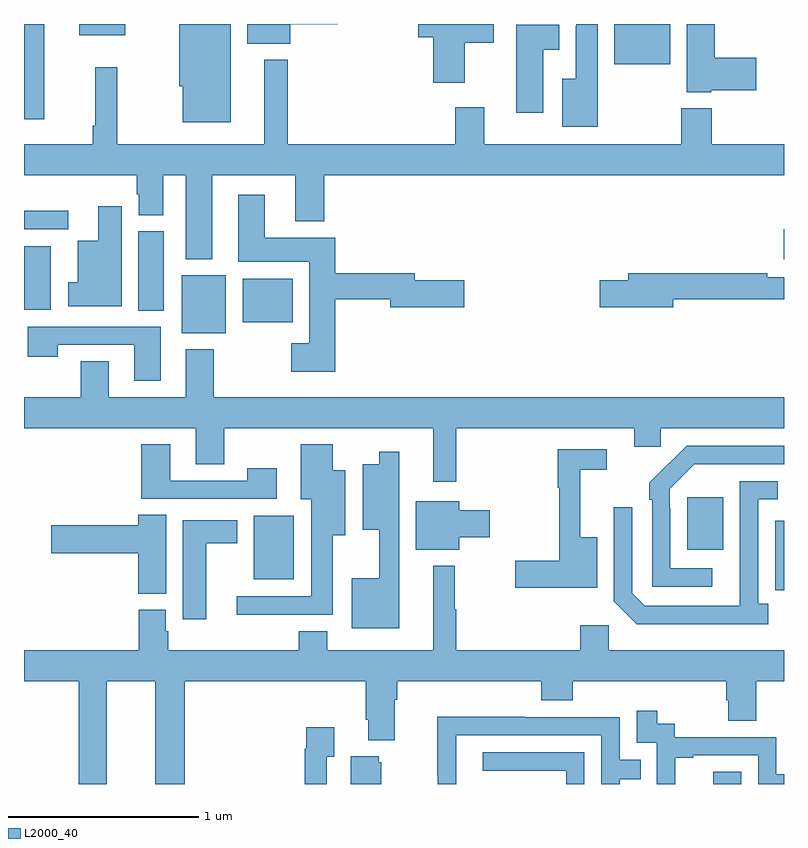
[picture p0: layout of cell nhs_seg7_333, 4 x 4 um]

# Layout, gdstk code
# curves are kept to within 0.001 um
import gdstk
lib = gdstk.Library(unit=1e-6, precision=1e-09)
def R(c, l, rs):  # rectangles x0, y0, x1, y1
    for r in rs: c.add(gdstk.rectangle(r[:2], r[2:], *l))
def P(c, l, *ps):  # polygons
    for p in ps: c.add(gdstk.Polygon(p, *l))
L2000_40 = (2000, 40)

nhs_seg7_333 = lib.new_cell('nhs_seg7_333')
R(nhs_seg7_333, L2000_40, [(138.627,1076,138.774,1076.065), (136.208,1077.077,136.42,1077.412), (138.491,1077.233,138.679,1077.508), (135.83,1078.373,136.063,1078.678), (136.151,1078.43,136.414,1078.66), (135.602,1078.492,135.736,1078.908), (135,1078.496,135.142,1078.831), (138.999,1078.763,139,1078.921), (135,1078.92,135.232,1079.018), (135,1079.499,135.106,1080), (138.107,1079.789,138.4,1080), (135.29,1079.942,135.532,1080)])
P(nhs_seg7_333, L2000_40, [(136.087,1080),(135.818,1080),(135.818,1079.673),(135.836,1079.673),(135.836,1079.483),(136.087,1079.483)],
  [(137.32,1079.902),(137.473,1079.902),(137.473,1080),(137.076,1080),(137.076,1079.93),(137.153,1079.93),(137.153,1079.691),(137.32,1079.691)],
  [(136.402,1079.999),(136.651,1079.999),(136.651,1080),(136.175,1080),(136.175,1079.897),(136.402,1079.897)],
  [(138.019,1080),(137.907,1080),(137.907,1079.987),(137.903,1079.987),(137.903,1079.713),(137.834,1079.713),(137.834,1079.459),(138.019,1079.459)],
  [(138.618,1079.651),(138.853,1079.651),(138.853,1079.822),(138.635,1079.822),(138.635,1080),(138.488,1080),(138.488,1079.642),(138.618,1079.642)],
  [(137.734,1079.864),(137.818,1079.864),(137.818,1079.995),(137.591,1079.995),(137.591,1079.532),(137.734,1079.532)],
  [(135.991,1079.204),(136.427,1079.204),(136.427,1078.961),(136.58,1078.961),(136.58,1079.204),(139,1079.204),(139,1079.368),(138.62,1079.368),(138.62,1079.557),(138.46,1079.557),(138.46,1079.368),(137.422,1079.368),(137.422,1079.563),(137.27,1079.563),(137.27,1079.368),(136.387,1079.368),(136.387,1079.812),(136.265,1079.812),(136.265,1079.368),(135.49,1079.368),(135.49,1079.773),(135.376,1079.773),(135.376,1079.464),(135.361,1079.464),(135.361,1079.368),(135,1079.368),(135,1079.204),(135.593,1079.204),(135.593,1079.103),(135.605,1079.103),(135.605,1078.993),(135.733,1078.993),(135.733,1079.204),(135.851,1079.204),(135.851,1078.763),(135.991,1078.763)],
  [(136.637,1078.552),(136.928,1078.552),(136.928,1078.51),(137.317,1078.51),(137.317,1078.652),(137.056,1078.652),(137.056,1078.688),(136.637,1078.688),(136.637,1078.876),(136.267,1078.876),(136.267,1079.101),(136.127,1079.101),(136.127,1078.748),(136.502,1078.748),(136.502,1078.321),(136.407,1078.321),(136.407,1078.169),(136.637,1078.169)],
  [(135.514,1079.041),(135.392,1079.041),(135.392,1078.858),(135.284,1078.858),(135.284,1078.642),(135.233,1078.642),(135.233,1078.514),(135.514,1078.514)],
  [(138.418,1078.552),(139,1078.552),(139,1078.668),(138.911,1078.668),(138.911,1078.688),(138.179,1078.688),(138.179,1078.652),(138.03,1078.652),(138.03,1078.51),(138.418,1078.51)],
  [(135.721,1078.407),(135.021,1078.407),(135.021,1078.248),(135.177,1078.248),(135.177,1078.311),(135.581,1078.311),(135.581,1078.122),(135.721,1078.122)],
  [(135.999,1078.288),(135.851,1078.288),(135.851,1078.036),(135.445,1078.036),(135.445,1078.226),(135.298,1078.226),(135.298,1078.036),(135,1078.036),(135,1077.872),(135.905,1077.872),(135.905,1077.682),(136.053,1077.682),(136.053,1077.872),(137.153,1077.872),(137.153,1077.591),(137.275,1077.591),(137.275,1077.872),(138.212,1077.872),(138.212,1077.774),(138.351,1077.774),(138.351,1077.872),(139,1077.872),(139,1078.036),(135.999,1078.036)],
  [(136.33,1077.661),(136.174,1077.661),(136.174,1077.597),(135.769,1077.597),(135.769,1077.787),(135.617,1077.787),(135.617,1077.501),(136.33,1077.501)],
  [(136.624,1077.308),(136.69,1077.308),(136.69,1077.652),(136.624,1077.652),(136.624,1077.787),(136.457,1077.787),(136.457,1077.5),(136.511,1077.5),(136.511,1076.988),(136.119,1076.988),(136.119,1076.891),(136.624,1076.891)],
  [(138.622,1077.135),(138.402,1077.135),(138.402,1077.455),(138.399,1077.455),(138.399,1077.555),(138.528,1077.684),(139,1077.684),(139,1077.78),(138.488,1077.78),(138.291,1077.585),(138.291,1077.497),(138.306,1077.497),(138.306,1077.039),(138.622,1077.039)],
  [(138.016,1077.298),(137.927,1077.298),(137.927,1077.654),(138.067,1077.654),(138.067,1077.762),(137.809,1077.762),(137.809,1077.559),(137.817,1077.559),(137.817,1077.176),(137.586,1077.176),(137.586,1077.034),(138.016,1077.034)],
  [(136.975,1077.748),(136.871,1077.748),(136.871,1077.682),(136.784,1077.682),(136.784,1077.338),(136.871,1077.338),(136.871,1077.082),(136.724,1077.082),(136.724,1076.819),(136.975,1076.819)],
  [(138.916,1076.95),(138.864,1076.95),(138.864,1077.498),(138.967,1077.498),(138.967,1077.594),(138.768,1077.594),(138.767,1076.937),(138.267,1076.937),(138.201,1077.003),(138.201,1077.457),(138.105,1077.457),(138.105,1076.961),(138.226,1076.84),(138.916,1076.84)],
  [(137.29,1077.299),(137.452,1077.299),(137.452,1077.441),(137.29,1077.441),(137.29,1077.487),(137.063,1077.487),(137.063,1077.233),(137.29,1077.233)],
  [(135.748,1077.416),(135.602,1077.416),(135.602,1077.362),(135.144,1077.362),(135.144,1077.215),(135.602,1077.215),(135.602,1077.001),(135.748,1077.001)],
  [(135.958,1077.266),(136.123,1077.266),(136.123,1077.388),(135.836,1077.388),(135.836,1076.868),(135.958,1076.868)],
  [(139,1077.385),(138.954,1077.385),(138.954,1077.13),(138.955,1077.13),(138.955,1077.021),(139,1077.021)],
  [(136.799,1076.338),(136.811,1076.338),(136.811,1076.231),(136.951,1076.231),(136.951,1076.444),(136.964,1076.444),(136.964,1076.54),(137.723,1076.54),(137.723,1076.441),(137.888,1076.441),(137.888,1076.54),(138.695,1076.54),(138.695,1076.442),(138.707,1076.442),(138.707,1076.332),(138.855,1076.332),(138.855,1076.54),(139,1076.54),(139,1076.704),(138.078,1076.704),(138.078,1076.836),(137.927,1076.836),(137.927,1076.704),(137.275,1076.704),(137.275,1076.921),(137.267,1076.921),(137.267,1077.148),(137.153,1077.148),(137.153,1076.704),(136.597,1076.704),(136.597,1076.803),(136.445,1076.803),(136.445,1076.704),(135.758,1076.704),(135.758,1076.805),(135.745,1076.805),(135.745,1076.916),(135.605,1076.916),(135.605,1076.704),(135,1076.704),(135,1076.54),(135.289,1076.54),(135.289,1076),(135.436,1076),(135.436,1076.54),(135.692,1076.54),(135.692,1076),(135.845,1076),(135.845,1076.54),(136.799,1076.54)],
  [(138.428,1076.139),(138.523,1076.139),(138.523,1076.151),(138.864,1076.151),(138.864,1076),(139,1076),(139,1076.052),(138.96,1076.052),(138.96,1076.247),(138.426,1076.247),(138.426,1076.316),(138.334,1076.316),(138.334,1076.386),(138.225,1076.386),(138.225,1076.217),(138.33,1076.217),(138.33,1076),(138.428,1076)],
  [(137.274,1076.256),(138.039,1076.256),(138.039,1076),(138.135,1076),(138.135,1076.026),(138.245,1076.026),(138.245,1076.127),(138.135,1076.127),(138.135,1076.352),(137.639,1076.352),(137.639,1076.354),(137.176,1076.354),(137.176,1076.047),(137.178,1076.047),(137.178,1076),(137.274,1076)],
  [(136.593,1076.143),(136.633,1076.143),(136.633,1076.299),(136.485,1076.299),(136.485,1076.186),(136.477,1076.186),(136.477,1076),(136.593,1076)],
  [(137.949,1076.166),(137.415,1076.166),(137.415,1076.07),(137.853,1076.07),(137.853,1076),(137.949,1076)],
  [(136.879,1076.115),(136.868,1076.115),(136.868,1076.146),(136.721,1076.146),(136.721,1076),(136.879,1076)])

lib.write_gds('nhs_seg7_333.gds')
